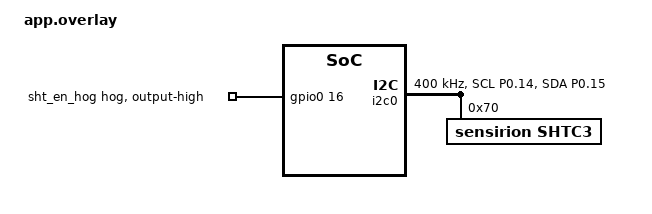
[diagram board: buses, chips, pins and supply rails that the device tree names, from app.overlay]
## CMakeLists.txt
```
cmake_minimum_required(VERSION 3.20.0)
find_package(Zephyr REQUIRED HINTS $ENV{ZEPHYR_BASE})

project(eternal_nrf_code_batteryless)

target_sources(app PRIVATE src/main.c)
```

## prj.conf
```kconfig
# Bluetooth: broadcaster only (non-connectable advertising, no GATT)
CONFIG_BT=y
CONFIG_BT_BROADCASTER=y
CONFIG_BT_PERIPHERAL=n
CONFIG_BT_OBSERVER=n
CONFIG_BT_CTLR_SDC_PERIPHERAL_COUNT=0
CONFIG_BT_SETTINGS=y
CONFIG_BT_DEVICE_NAME="Eternal"
CONFIG_SETTINGS=y
CONFIG_FLASH=y
CONFIG_FLASH_MAP=y
CONFIG_NVS=y

# Max TX on nRF52810 (+4 dBm) — favor scanner delivery over burst current
CONFIG_BT_CTLR_TX_PWR_PLUS_4=y

# Use external 32.768 kHz crystal (LFXO). DC/DC is enabled by the nrf52dk
# board's `regulator-initial-mode = <NRF5X_REG_MODE_DCDC>` in DT.
CONFIG_CLOCK_CONTROL_NRF_K32SRC_XTAL=y

# Device runtime PM so TWIM can drop to its low-power pinctrl state between
# uses. CONFIG_PM (system PM) is ignored on this SoC/NCS tree (HAS_PM=n);
# idle current comes from tickless System ON, not that symbol.
CONFIG_PM_DEVICE=y
CONFIG_PM_DEVICE_RUNTIME=y

# Trim everything we don't need
CONFIG_SIZE_OPTIMIZATIONS=y
CONFIG_BOOT_BANNER=n
CONFIG_NCS_BOOT_BANNER=n
CONFIG_SERIAL=n
CONFIG_UART_CONSOLE=n
CONFIG_LOG=n
CONFIG_ASSERT=n
CONFIG_THREAD_NAME=n
CONFIG_THREAD_MONITOR=n
CONFIG_THREAD_STACK_INFO=n

# All logging / console output disabled for production power-saving.
# printk() calls in the source compile to no-ops with CONFIG_PRINTK=n.
CONFIG_CONSOLE=n
CONFIG_PRINTK=n
CONFIG_USE_SEGGER_RTT=n
CONFIG_RTT_CONSOLE=n

# Tight stacks (broadcaster path only)
CONFIG_MAIN_STACK_SIZE=768
CONFIG_IDLE_STACK_SIZE=128
CONFIG_SYSTEM_WORKQUEUE_STACK_SIZE=1024
CONFIG_BT_RX_STACK_SIZE=1024

# SHT-C3 over I2C
CONFIG_I2C=y
CONFIG_SENSOR=y
CONFIG_SHTCX=y

# No SAADC: battery % is gone (this is a batteryless solar+supercap node),
# and the "still powered?" decision is handled by physical brownout, so VDD
# sensing serves no purpose here.
```

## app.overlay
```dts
#include <zephyr/dt-bindings/gpio/gpio.h>

&pinctrl {
	i2c0_default: i2c0_default {
		group1 {
			psels = <NRF_PSEL(TWIM_SCL, 0, 14)>,
				<NRF_PSEL(TWIM_SDA, 0, 15)>;
		};
	};

	i2c0_sleep: i2c0_sleep {
		group1 {
			psels = <NRF_PSEL(TWIM_SCL, 0, 14)>,
				<NRF_PSEL(TWIM_SDA, 0, 15)>;
			low-power-enable;
		};
	};
};

/* Free P0.09 / P0.10 from NFC1/NFC2 mode so they work as plain GPIOs and
 * the NFC antenna-sense circuit isn't burning current in System ON LP.
 * Writes UICR.NFCPINS = Disabled at boot via the HAL init sequence.
 */
&uicr {
	nfct-pins-as-gpios;
};

&gpio0 {
	/* Hold SHT_EN high from reset so device_init() can talk to the
	 * SHTC3 before the first advertising burst. The 100 uF storage
	 * cap often only funds one packet per charge-up, so that packet
	 * needs a real temp/humidity sample.
	 */
	sht_en_hog {
		gpio-hog;
		gpios = <16 GPIO_ACTIVE_HIGH>;
		output-high;
	};
};

&i2c0 {
	compatible = "nordic,nrf-twim";
	status = "okay";
	pinctrl-0 = <&i2c0_default>;
	pinctrl-1 = <&i2c0_sleep>;
	pinctrl-names = "default", "sleep";
	clock-frequency = <I2C_BITRATE_FAST>;

	shtc3: shtc3@70 {
		compatible = "sensirion,shtc3", "sensirion,shtcx";
		reg = <0x70>;
		measure-mode = "normal";
		zephyr,deferred-init;
	};
};
```

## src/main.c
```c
#include <zephyr/kernel.h>
#include <zephyr/sys/printk.h>
#include <zephyr/device.h>
#include <zephyr/drivers/gpio.h>
#include <zephyr/drivers/sensor.h>
#include <zephyr/bluetooth/bluetooth.h>
#include <zephyr/settings/settings.h>
#include <zephyr/sys/byteorder.h>

/* BTHome v2 service-data format (https://bthome.io)
 *   uuid     : 0xFCD2 (BTHome SIG-assigned 16-bit UUID), little-endian
 *   info     : 0x40 = v2, unencrypted, not trigger-based
 *   0x02     : temperature, int16 LE, 0.01 degC resolution
 *   0x03     : humidity, uint16 LE, 0.01 % resolution
 *   0x0F     : generic boolean, uint8 (button state)
 *   0x11     : opening, uint8 (magnet/contact state)
 *
 * No battery object: this is a batteryless harvester (solar + supercap via
 * BQ25504). There is no meaningful "charge %" to report - the device simply
 * runs whenever the storage cap holds enough energy and browns out when it
 * doesn't. BTHome object IDs must stay in ascending order, which they are.
 */
#define BTHOME_UUID         0xFCD2U
#define BTHOME_INFO_V2      0x40U
#define BTHOME_OID_TEMP     0x02U
#define BTHOME_OID_HUM      0x03U
#define BTHOME_OID_BOOL     0x0FU
#define BTHOME_OID_OPENING  0x11U

#define LED0_PIN            10U
#define INPUT_PIN           12U
#define BUTTON_PIN          20U
#define SHT_EN_PIN          16U

/* Batteryless duty cycle.
 *
 * There is no deep-sleep schedule: in an energy-harvesting design you spend
 * energy as soon as you have it, because you can't assume you'll still be
 * powered in N minutes. Each pass through the main loop:
 *   1. sample contact/button pins (and the SHTC3 every SHT_PERIOD_CYCLES),
 *   2. fire a short dense advertising burst so a windowed scanner
 *      (Home Assistant) reliably catches at least one packet,
 *   3. blink the LED briefly after the burst, then idle for IDLE_PERIOD,
 *   4. loop and transmit again if the MCU is still powered.
 *
 * Interval matches nrf_doorbell: 20-30 ms (0x0020/0x0030 in 0.625 ms units)
 * instead of BT_LE_ADV_NCONN_IDENTITY's 100-150 ms. ~450 ms at that cadence
 * is ~15-22 events per burst, vs ~3-4 at the default fast interval, without
 * stretching the radio-on window. TX is +4 dBm (see prj.conf).
 *
 * Storage is a small 100 uF cap, not a supercap: a boot often only
 * completes one burst. Init the SHTC3 (and take a sample) before the
 * radio so that packet has real temp/humidity, not zeros. After that
 * the SHTC3 is gated off and only fetched every ~10 bursts (~35 s)
 * while we stay powered; magnet/button still go out every burst.
 */
#define ADV_BURST_MS        450U
#define LED_FLASH_MS        20U
#define IDLE_PERIOD         K_MSEC(3000)
#define SHT_PERIOD_CYCLES   10U

/* BLE advertising interval units are 0.625 ms; 0x0020=20 ms, 0x0030=30 ms. */
static const struct bt_le_adv_param adv_param = {
	.id = BT_ID_DEFAULT,
	.sid = 0,
	.secondary_max_skip = 0,
	.options = BT_LE_ADV_OPT_USE_IDENTITY,
	.interval_min = 0x0020,
	.interval_max = 0x0030,
	.peer = NULL,
};

static struct {
	uint16_t uuid;
	uint8_t  info;
	uint8_t  oid_temp;
	int16_t  temp_centi_c;
	uint8_t  oid_hum;
	uint16_t hum_centi_pct;
	uint8_t  oid_button;
	uint8_t  button_pressed;
	uint8_t  oid_magnet;
	uint8_t  magnet_open;
} __packed svc = {
	.uuid        = sys_cpu_to_le16(BTHOME_UUID),
	.info        = BTHOME_INFO_V2,
	.oid_temp    = BTHOME_OID_TEMP,
	.oid_hum     = BTHOME_OID_HUM,
	.oid_button  = BTHOME_OID_BOOL,
	.oid_magnet  = BTHOME_OID_OPENING,
};

static const struct bt_data ad[] = {
	BT_DATA_BYTES(BT_DATA_FLAGS, BT_LE_AD_NO_BREDR | BT_LE_AD_GENERAL),
	BT_DATA_BYTES(BT_DATA_NAME_COMPLETE,
		      'E', 't', 'e', 'r', 'n', 'a', 'l'),
	BT_DATA(BT_DATA_SVC_DATA16, (const uint8_t *)&svc, sizeof(svc)),
};

static const struct device *const gpio0 = DEVICE_DT_GET(DT_NODELABEL(gpio0));
static const struct device *const shtc3 = DEVICE_DT_GET(DT_NODELABEL(shtc3));

static bool bt_ready;
static bool sht_ready;
static uint8_t sht_cycles_until_read;

/* Every GPIO we don't drive or sense.
 *
 * Includes both QCAA-exposed pins (4,5,6,9,18,25,28,30) and the die-pad
 * pins that aren't bonded out in the QCAA package (2,3,7,8,11,13,17,19,
 * 22,23,24,26,27,29,31). PIN_CNF still controls those die pads; disabling
 * their input buffers cuts any latent pad leakage. Skipped:
 *   0,1   - XL1/XL2 (LFXO, owned by the clock-control driver)
 *   10    - LED
 *   12    - DRV5032 input
 *   14,15 - I2C SCL/SDA (managed by pinctrl)
 *   16    - SHT_VCC
 *   20    - button
 *   21    - RESET
 */
static const uint8_t unused_pins[] = {
	2, 3, 4, 5, 6, 7, 8, 9, 11, 13,
	17, 18, 19, 22, 23, 24, 25, 26, 27, 28,
	29, 30, 31,
};

static int bt_setup(void)
{
	if (bt_ready) {
		return 0;
	}
	int err = bt_enable(NULL);
	if (err && err != -EALREADY) {
		printk("bt_enable failed: %d\n", err);
		return err;
	}
	if (IS_ENABLED(CONFIG_BT_SETTINGS)) {
		(void)settings_load();
	}
	bt_ready = true;
	return 0;
}

static int read_shtc3_sample(int16_t *temp_centi_c, uint16_t *hum_centi_pct)
{
	struct sensor_value temp;
	struct sensor_value hum;
	int rc;

	/* Power-gate the SHTC3: drive SHT_EN high for the read, then low.
	 * Datasheet power-up time is ~240 us; 5 ms gives ample margin and
	 * the CPU just idles during k_sleep().
	 */
	(void)gpio_pin_set(gpio0, SHT_EN_PIN, 1);
	k_sleep(K_MSEC(5));

	rc = sensor_sample_fetch(shtc3);
	if (rc == 0) {
		rc = sensor_channel_get(shtc3, SENSOR_CHAN_AMBIENT_TEMP, &temp);
	}
	if (rc == 0) {
		rc = sensor_channel_get(shtc3, SENSOR_CHAN_HUMIDITY, &hum);
	}

	(void)gpio_pin_set(gpio0, SHT_EN_PIN, 0);

	if (rc) {
		printk("shtc3: read failed (%d)\n", rc);
		return -1;
	}

	int32_t temp_micro = (temp.val1 * 1000000) + temp.val2;
	int32_t hum_micro  = (hum.val1 * 1000000) + hum.val2;

	*temp_centi_c = (int16_t)(temp_micro / 10000);
	if (hum_micro < 0) {
		hum_micro = 0;
	}
	*hum_centi_pct = (uint16_t)(hum_micro / 10000);
	return 0;
}

/* One publish cycle: refresh pins (and periodically the SHTC3), fire a short
 * advertising burst, then idle. Returns after IDLE_PERIOD; if the cap
 * browns out at any point the MCU simply resets and main() starts over.
 */
static void publish_cycle(void)
{
	int16_t  t = (int16_t)sys_le16_to_cpu(svc.temp_centi_c);
	uint16_t h = sys_le16_to_cpu(svc.hum_centi_pct);

	if (sht_ready) {
		if (sht_cycles_until_read == 0U) {
			if (read_shtc3_sample(&t, &h) == 0) {
				svc.temp_centi_c  = sys_cpu_to_le16(t);
				svc.hum_centi_pct = sys_cpu_to_le16(h);
			}
			sht_cycles_until_read = SHT_PERIOD_CYCLES;
		}
		sht_cycles_until_read--;
	}

	int magnet = gpio_pin_get(gpio0, INPUT_PIN);
	int button = gpio_pin_get(gpio0, BUTTON_PIN);

	svc.button_pressed = (button == 0) ? 1U : 0U;
	svc.magnet_open    = (magnet  > 0) ? 1U : 0U;

	printk("publish: t=%d.%02d C  rh=%u.%02u %%  mag=%s  btn=%s\n",
	       t / 100, (t < 0 ? -t : t) % 100,
	       h / 100, h % 100,
	       svc.magnet_open ? "open" : "closed",
	       svc.button_pressed ? "down" : "up");

	/* Burst: start fresh each cycle so the just-read data goes out, run
	 * a dense 20-30 ms interval for ADV_BURST_MS, then stop the radio.
	 */
	if (bt_le_adv_start(&adv_param, ad,
			    ARRAY_SIZE(ad), NULL, 0) == 0) {
		k_sleep(K_MSEC(ADV_BURST_MS));
		(void)bt_le_adv_stop();
		/* Brief heartbeat after the radio is off so it cannot steal
		 * energy from the burst on the 100 uF cap.
		 */
		(void)gpio_pin_set(gpio0, LED0_PIN, 1);
		k_sleep(K_MSEC(LED_FLASH_MS));
		(void)gpio_pin_set(gpio0, LED0_PIN, 0);
	} else {
		printk("adv_start failed\n");
	}

	k_sleep(IDLE_PERIOD);
}

/* Power the SHTC3, run deferred driver init (wake + ID check), then gate
 * it off again. Called before the first advertising burst so a one-shot
 * 100 uF boot still puts a real sample in that packet.
 */
static int shtc3_setup(void)
{
	if (gpio_pin_configure(gpio0, SHT_EN_PIN, GPIO_OUTPUT_ACTIVE)) {
		printk("sht_en config failed\n");
		return -1;
	}
	k_sleep(K_MSEC(20));

	if (device_init(shtc3)) {
		printk("shtc3 init failed\n");
		(void)gpio_pin_set(gpio0, SHT_EN_PIN, 0);
		return -1;
	}
	if (!device_is_ready(shtc3)) {
		printk("shtc3 not ready\n");
		(void)gpio_pin_set(gpio0, SHT_EN_PIN, 0);
		return -1;
	}

	(void)gpio_pin_set(gpio0, SHT_EN_PIN, 0);
	sht_ready = true;
	sht_cycles_until_read = 0U;
	return 0;
}

int main(void)
{
	printk("nrf-sensor (batteryless): boot\n");

	if (!device_is_ready(gpio0)) {
		printk("gpio0 not ready\n");
		return -1;
	}

	/* Hold the LED off until after a successful burst. */
	if (gpio_pin_configure(gpio0, LED0_PIN, GPIO_OUTPUT_INACTIVE)) {
		printk("led pin config failed\n");
		return -1;
	}

	/* DRV5032 (push-pull variant) actively drives both rails; no internal
	 * pull needed, and adding one would just burn current fighting the
	 * driver whenever the output sits in the opposite state.
	 */
	if (gpio_pin_configure(gpio0, INPUT_PIN, GPIO_INPUT)) {
		printk("input pin config failed\n");
		return -1;
	}
	if (gpio_pin_configure(gpio0, BUTTON_PIN,
			       GPIO_INPUT | GPIO_PULL_UP)) {
		printk("button pin config failed\n");
		return -1;
	}

	/* Disconnect every pin we don't drive or sense. Reset state is
	 * input-with-buffer-enabled, which can burn pad leakage if the pin
	 * floats around mid-rail.
	 */
	for (size_t i = 0; i < ARRAY_SIZE(unused_pins); i++) {
		(void)gpio_pin_configure(gpio0, unused_pins[i],
					 GPIO_DISCONNECTED);
	}

	/* SHTC3 first: on 100 uF a boot often only yields one packet, so
	 * that packet must already contain a sample. The DT hog holds
	 * SHT_EN high through kernel boot; this takes the pin and runs
	 * the deferred driver init, then gates the sensor off.
	 */
	if (shtc3_setup() != 0) {
		return -1;
	}

	/* Bring the BLE controller up once. With CONFIG_BT_SETTINGS the
	 * identity (stable MAC) is loaded from flash so Home Assistant keeps
	 * tracking the same device across the frequent power cycles a
	 * harvester sees. We never tear it down: at a ~3 s cadence the
	 * one-shot enable cost would dominate, and re-enabling on every cycle
	 * means re-reading flash each time.
	 */
	if (bt_setup() != 0) {
		return -1;
	}

	/* Spend energy as it arrives: no sleep schedule, just publish and
	 * idle for as long as the cap keeps us alive.
	 */
	while (1) {
		publish_cycle();
	}

	return 0;
}
```
